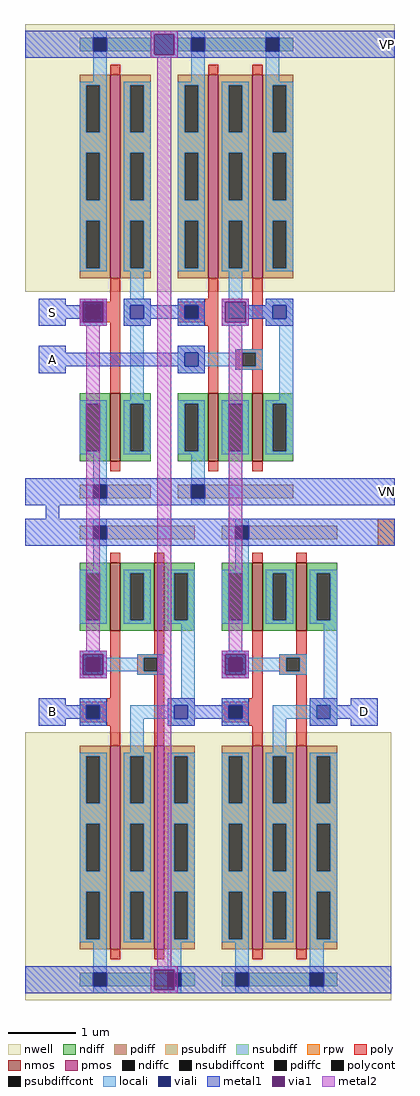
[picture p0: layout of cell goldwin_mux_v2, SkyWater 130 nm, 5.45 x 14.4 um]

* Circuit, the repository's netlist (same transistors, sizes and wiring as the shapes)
* NGSPICE file created from goldwin_mux_v2.ext - technology: sky130A

.subckt goldwin_nand_v2 A B Y VP VN
X0 Y B a_30_0# VN sky130_fd_pr__nfet_01v8 ad=0.45 pd=2.9 as=0.25 ps=1.5 w=1 l=0.15
X1 a_30_0# A VN VN sky130_fd_pr__nfet_01v8 ad=0.25 pd=1.5 as=0.45 ps=2.9 w=1 l=0.15
X2 Y A VP VP sky130_fd_pr__pfet_01v8 ad=0.75 pd=3.5 as=1.35 ps=6.9 w=3 l=0.15
X3 VP B Y VP sky130_fd_pr__pfet_01v8 ad=1.35 pd=6.9 as=0.75 ps=3.5 w=3 l=0.15
.ends

.subckt goldwin_not_v2 A Y VP VN
X0 Y A VN VN sky130_fd_pr__nfet_01v8 ad=0.45 pd=2.9 as=0.45 ps=2.9 w=1 l=0.15
X1 Y A VP VP sky130_fd_pr__pfet_01v8 ad=1.35 pd=6.9 as=1.35 ps=6.9 w=3 l=0.15
.ends

.subckt goldwin_mux_v2 A B S D VP VN
Xgoldwin_nand_v2_0 goldwin_nand_v2_3/Y goldwin_nand_v2_1/Y D VP VN goldwin_nand_v2
Xgoldwin_nand_v2_1 goldwin_not_v2_0/Y A goldwin_nand_v2_1/Y VP VN goldwin_nand_v2
Xgoldwin_nand_v2_3 B S goldwin_nand_v2_3/Y VP VN goldwin_nand_v2
Xgoldwin_not_v2_0 S goldwin_not_v2_0/Y VP VN goldwin_not_v2
.ends

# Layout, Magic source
magic
tech sky130A
<< nwell >>
rect -60 315 0 710
rect 355 315 485 710
rect -60 -730 0 -335
rect 420 -730 480 -335
<< rpw >>
rect 460 -60 485 -20
<< metal1 >>
rect -60 660 0 700
rect 355 660 485 700
rect -40 295 0 305
rect 230 300 270 305
rect -40 275 20 295
rect -40 265 0 275
rect 125 275 165 295
rect 230 270 235 300
rect 265 295 270 300
rect 265 275 295 295
rect 265 270 270 275
rect 230 265 270 270
rect -40 225 0 235
rect -40 205 165 225
rect -40 195 0 205
rect -60 0 0 40
rect 355 0 485 40
rect -30 -20 -10 0
rect -60 -60 0 -20
rect 420 -60 485 -20
rect -40 -295 0 -285
rect -40 -315 20 -295
rect 190 -315 230 -295
rect -40 -325 0 -315
rect 365 -320 395 -290
rect 420 -295 460 -285
rect 400 -315 460 -295
rect 420 -325 460 -315
rect -60 -720 0 -680
rect 420 -720 480 -680
<< via1 >>
rect 130 665 160 695
rect 25 270 55 300
rect 235 270 265 300
rect 25 -250 55 -220
rect 235 -250 265 -220
rect 130 -715 160 -685
<< metal2 >>
rect 125 695 165 700
rect 125 665 130 695
rect 160 665 165 695
rect 125 660 165 665
rect 20 300 60 305
rect 20 270 25 300
rect 55 270 60 300
rect 20 265 60 270
rect 30 -215 50 265
rect 20 -220 60 -215
rect 20 -250 25 -220
rect 55 -250 60 -220
rect 20 -255 60 -250
rect 135 -680 155 660
rect 230 300 270 305
rect 230 270 235 300
rect 265 270 270 300
rect 230 265 270 270
rect 240 -215 260 265
rect 230 -220 270 -215
rect 230 -250 235 -220
rect 265 -250 270 -220
rect 230 -255 270 -250
rect 125 -685 165 -680
rect 125 -715 130 -685
rect 160 -715 165 -685
rect 125 -720 165 -715
use goldwin_nand_v2  goldwin_nand_v2_0 ../goldwin_nand_v2
transform 1 0 275 0 -1 -85
box -65 -65 145 645
use goldwin_nand_v2  goldwin_nand_v2_1
transform 1 0 210 0 1 65
box -65 -65 145 645
use goldwin_nand_v2  goldwin_nand_v2_3
transform 1 0 65 0 -1 -85
box -65 -65 145 645
use goldwin_not_v2  goldwin_not_v2_0 ../goldwin_not_v2
transform 1 0 65 0 1 65
box -65 -65 80 645
<< labels >>
flabel metal1 -40 195 0 235 1 FreeSans 200 0 0 0 A
port 1 n
flabel metal1 -40 265 0 305 1 FreeSans 200 0 0 0 S
port 3 n
flabel metal1 -40 -325 0 -285 1 FreeSans 200 0 0 0 B
port 2 n
flabel metal1 420 -325 460 -285 1 FreeSans 200 0 0 0 D
port 4 n
flabel metal1 465 0 485 40 1 FreeSans 200 0 0 0 VN
port 6 n
flabel metal1 465 660 485 700 1 FreeSans 200 0 0 0 VP
port 5 n
<< end >>

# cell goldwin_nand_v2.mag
magic
tech sky130A
<< nwell >>
rect -65 250 145 645
<< nmos >>
rect 0 0 15 100
rect 65 0 80 100
<< pmos >>
rect 0 270 15 570
rect 65 270 80 570
<< ndiff >>
rect -45 85 0 100
rect -45 15 -35 85
rect -15 15 0 85
rect -45 0 0 15
rect 15 85 65 100
rect 15 15 30 85
rect 50 15 65 85
rect 15 0 65 15
rect 80 85 125 100
rect 80 15 95 85
rect 115 15 125 85
rect 80 0 125 15
<< pdiff >>
rect -45 555 0 570
rect -45 485 -35 555
rect -15 485 0 555
rect -45 455 0 485
rect -45 385 -35 455
rect -15 385 0 455
rect -45 355 0 385
rect -45 285 -35 355
rect -15 285 0 355
rect -45 270 0 285
rect 15 555 65 570
rect 15 485 30 555
rect 50 485 65 555
rect 15 455 65 485
rect 15 385 30 455
rect 50 385 65 455
rect 15 355 65 385
rect 15 285 30 355
rect 50 285 65 355
rect 15 270 65 285
rect 80 555 125 570
rect 80 485 95 555
rect 115 485 125 555
rect 80 455 125 485
rect 80 385 95 455
rect 115 385 125 455
rect 80 355 125 385
rect 80 285 95 355
rect 115 285 125 355
rect 80 270 125 285
<< ndiffc >>
rect -35 15 -15 85
rect 30 15 50 85
rect 95 15 115 85
<< pdiffc >>
rect -35 485 -15 555
rect -35 385 -15 455
rect -35 285 -15 355
rect 30 485 50 555
rect 30 385 50 455
rect 30 285 50 355
rect 95 485 115 555
rect 95 385 115 455
rect 95 285 115 355
<< psubdiff >>
rect -45 -55 -25 -35
rect -5 -55 125 -35
<< nsubdiff >>
rect -45 605 -25 625
rect -5 605 85 625
rect 105 605 125 625
<< psubdiffcont >>
rect -25 -55 -5 -35
<< nsubdiffcont >>
rect -25 605 -5 625
rect 85 605 105 625
<< poly >>
rect 0 570 15 585
rect 65 570 80 585
rect 0 240 15 270
rect -5 235 15 240
rect -45 230 15 235
rect -45 210 -35 230
rect -15 210 15 230
rect -45 205 15 210
rect -5 200 15 205
rect 0 100 15 200
rect 65 165 80 270
rect 40 160 80 165
rect 40 140 50 160
rect 70 140 80 160
rect 40 135 80 140
rect 65 100 80 135
rect 0 -15 15 0
rect 65 -15 80 0
<< polycont >>
rect -35 210 -15 230
rect 50 140 70 160
<< locali >>
rect -25 625 -5 635
rect -25 560 -5 605
rect 85 625 105 635
rect 85 560 105 605
rect -45 555 -5 560
rect -45 485 -35 555
rect -15 485 -5 555
rect -45 455 -5 485
rect -45 385 -35 455
rect -15 385 -5 455
rect -45 355 -5 385
rect -45 285 -35 355
rect -15 285 -5 355
rect -45 280 -5 285
rect 20 555 60 560
rect 20 485 30 555
rect 50 485 60 555
rect 20 455 60 485
rect 20 385 30 455
rect 50 385 60 455
rect 20 355 60 385
rect 20 285 30 355
rect 50 285 60 355
rect 20 280 60 285
rect 85 555 125 560
rect 85 485 95 555
rect 115 485 125 555
rect 85 455 125 485
rect 85 385 95 455
rect 115 385 125 455
rect 85 355 125 385
rect 85 285 95 355
rect 115 285 125 355
rect 85 280 125 285
rect -45 230 -5 240
rect -45 210 -35 230
rect -15 210 -5 230
rect 30 230 50 280
rect 85 230 125 240
rect 30 210 95 230
rect 115 210 125 230
rect -45 200 -5 210
rect 85 200 125 210
rect -45 160 -5 170
rect 40 160 80 165
rect -45 140 -35 160
rect -15 140 50 160
rect 70 140 80 160
rect -45 130 -5 140
rect 40 135 80 140
rect 105 90 125 200
rect -45 85 -5 90
rect -45 15 -35 85
rect -15 15 -5 85
rect -45 10 -5 15
rect 20 85 60 90
rect 20 15 30 85
rect 50 15 60 85
rect 20 10 60 15
rect 85 85 125 90
rect 85 15 95 85
rect 115 15 125 85
rect 85 10 125 15
rect -25 -35 -5 10
rect -25 -65 -5 -55
<< viali >>
rect -25 605 -5 625
rect 85 605 105 625
rect -35 210 -15 230
rect 95 210 115 230
rect -35 140 -15 160
rect -25 -55 -5 -35
<< metal1 >>
rect -65 625 145 635
rect -65 605 -25 625
rect -5 605 85 625
rect 105 605 145 625
rect -65 595 145 605
rect -45 230 -5 240
rect -45 210 -35 230
rect -15 210 -5 230
rect -45 200 -5 210
rect 85 230 125 240
rect 85 210 95 230
rect 115 210 125 230
rect 85 200 125 210
rect -45 160 -5 170
rect -45 140 -35 160
rect -15 140 -5 160
rect -45 130 -5 140
rect -65 -35 145 -25
rect -65 -55 -25 -35
rect -5 -55 145 -35
rect -65 -65 145 -55
<< labels >>
flabel metal1 125 595 145 625 1 FreeSans 200 0 0 -120 VP
port 4 n
flabel metal1 125 -55 145 -25 1 FreeSans 200 0 0 -120 VN
port 5 n
flabel metal1 85 200 125 240 1 FreeSans 200 0 0 -120 Y
port 3 n
flabel metal1 -45 200 -5 240 1 FreeSans 200 0 0 -120 A
port 1 n
flabel metal1 -45 130 -5 170 1 FreeSans 200 0 0 -120 B
port 2 n
<< end >>

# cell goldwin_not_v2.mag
magic
tech sky130A
<< nwell >>
rect -65 250 80 645
<< nmos >>
rect 0 0 15 100
<< pmos >>
rect 0 270 15 570
<< ndiff >>
rect -45 85 0 100
rect -45 15 -35 85
rect -15 15 0 85
rect -45 0 0 15
rect 15 85 60 100
rect 15 15 30 85
rect 50 15 60 85
rect 15 0 60 15
<< pdiff >>
rect -45 555 0 570
rect -45 485 -35 555
rect -15 485 0 555
rect -45 455 0 485
rect -45 385 -35 455
rect -15 385 0 455
rect -45 355 0 385
rect -45 285 -35 355
rect -15 285 0 355
rect -45 270 0 285
rect 15 555 60 570
rect 15 485 30 555
rect 50 485 60 555
rect 15 455 60 485
rect 15 385 30 455
rect 50 385 60 455
rect 15 355 60 385
rect 15 285 30 355
rect 50 285 60 355
rect 15 270 60 285
<< ndiffc >>
rect -35 15 -15 85
rect 30 15 50 85
<< pdiffc >>
rect -35 485 -15 555
rect -35 385 -15 455
rect -35 285 -15 355
rect 30 485 50 555
rect 30 385 50 455
rect 30 285 50 355
<< psubdiff >>
rect -45 -55 -25 -35
rect -5 -55 60 -35
<< nsubdiff >>
rect -45 605 -25 625
rect -5 605 60 625
<< psubdiffcont >>
rect -25 -55 -5 -35
<< nsubdiffcont >>
rect -25 605 -5 625
<< poly >>
rect 0 570 15 585
rect 0 235 15 270
rect -45 230 15 235
rect -45 210 -35 230
rect -15 210 15 230
rect -45 205 15 210
rect 0 100 15 205
rect 0 -15 15 0
<< polycont >>
rect -35 210 -15 230
<< locali >>
rect -25 625 -5 635
rect -25 560 -5 605
rect -45 555 -5 560
rect -45 485 -35 555
rect -15 485 -5 555
rect -45 455 -5 485
rect -45 385 -35 455
rect -15 385 -5 455
rect -45 355 -5 385
rect -45 285 -35 355
rect -15 285 -5 355
rect -45 280 -5 285
rect 20 555 60 560
rect 20 485 30 555
rect 50 485 60 555
rect 20 455 60 485
rect 20 385 30 455
rect 50 385 60 455
rect 20 355 60 385
rect 20 285 30 355
rect 50 285 60 355
rect 20 280 60 285
rect 30 240 50 280
rect -45 230 -5 240
rect -45 210 -35 230
rect -15 210 -5 230
rect -45 200 -5 210
rect 20 230 60 240
rect 20 210 30 230
rect 50 210 60 230
rect 20 200 60 210
rect 30 90 50 200
rect -45 85 -5 90
rect -45 15 -35 85
rect -15 15 -5 85
rect -45 10 -5 15
rect 20 85 60 90
rect 20 15 30 85
rect 50 15 60 85
rect 20 10 60 15
rect -25 -35 -5 10
rect -25 -65 -5 -55
<< viali >>
rect -25 605 -5 625
rect -35 210 -15 230
rect 30 210 50 230
rect -25 -55 -5 -35
<< metal1 >>
rect -65 625 80 635
rect -65 605 -25 625
rect -5 605 80 625
rect -65 595 80 605
rect -45 230 -5 240
rect -45 210 -35 230
rect -15 210 -5 230
rect -45 200 -5 210
rect 20 230 60 240
rect 20 210 30 230
rect 50 210 60 230
rect 20 200 60 210
rect -65 -35 80 -25
rect -65 -55 -25 -35
rect -5 -55 80 -35
rect -65 -65 80 -55
<< labels >>
flabel metal1 60 -65 80 -25 1 FreeSans 200 0 0 0 VN
port 4 n
flabel metal1 60 595 80 635 1 FreeSans 200 0 0 0 VP
port 3 n
flabel metal1 20 200 60 240 1 FreeSans 200 0 0 -120 Y
port 2 n
flabel metal1 -45 200 -5 240 1 FreeSans 200 0 0 -120 A
port 1 n
<< end >>
